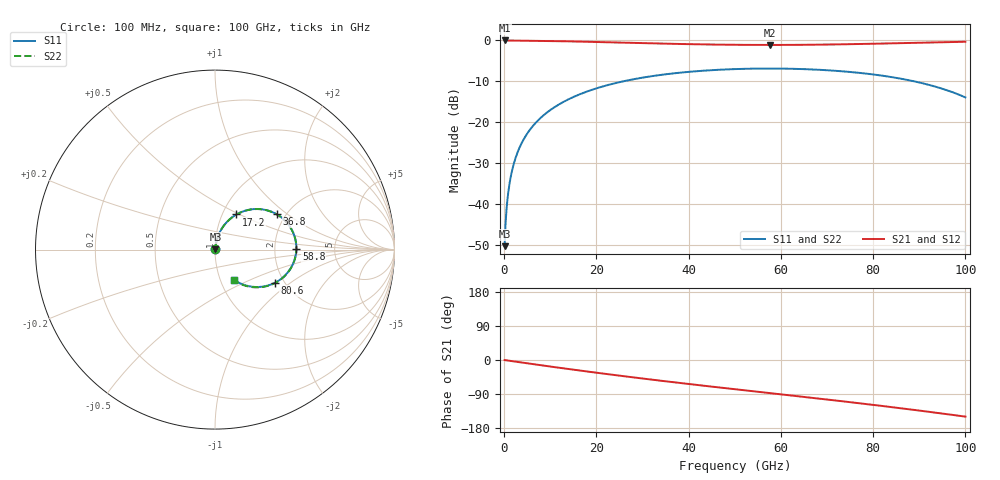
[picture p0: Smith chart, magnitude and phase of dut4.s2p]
! Touchstone file exported from HFSS 2026.1.0
!  File:  C:/ffzhzh/LocalFiles/Ansys_Project_Files/temp_train_RDL_4_1783497506_55944.aedt
!  Generated:  03:59:38 PM Jul  8, 2026
!  Design:  RDL
!  Project:  temp_train_RDL_4_1783497506_55944
! Variables:
!  h_bsmrdl = 2um
!  h_ox = 20um
!  h_rdl = 5um
!  h_sub = 80um
!  h_tmrdl = 3.14um
!  h_tsv = 80um
!  h_via = 3um
!  l_bsmrdl = 300um
!  l_sub = 905.96um
!  l_tmrdl = 505.96um
!  m_sub = 200um
!  pitch = 43.36um
!  r_tsv = 6um
!  s_tmrdl = 10um
!  w_bsmrdl = 18um
!  w_sub = 500um
!  w_tmrdl = 24.64um
!  x_tsv_center1 = 518.28um
!  x_tsv_center2 = 836.28um
!  x_tsv_center3 = 1366.88um
!  x_tsv_center4 = 1684.88um
!  x_tsv_center5 = 2215.48um
!  x_tsv_center6 = 2533.48um
# GHz S MA R 50.000000
! Terminal data exported
! Port[1] = TM_RDL1_1_T1
! Port[2] = TM_RDL1_1_T2
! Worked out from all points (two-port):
!   1000 points, 100 MHz to 100 GHz, reference 50 ohm
!   highest |S21| = -0.02 dB at 100 MHz (marker M1); lowest = -1.1 dB at 57.6 GHz (marker M2)
!   |S21| within 3 dB of the highest: start of sweep to end of sweep
!   lowest |S11| = -50.2 dB at 100 MHz (marker M3), VSWR 1.01, Z = 50.3 + j0.172 ohm
!   |S11| at or under -10 dB: start of sweep to 25.79 GHz; 88.93 GHz to end of sweep
!   |S22| runs from -50.2 to -6.9 dB; largest |S21 - S12| = 1.7e-14
!   S11 on the Smith chart (normalised r, x): 100 MHz: 1.01, +0.00; 17.2 GHz: 1.16, +0.48; 36.8 GHz: 1.80, +0.84; 58.8 GHz: 2.66, +0.01; 80.6 GHz: 1.78, -0.77; 100 GHz: 1.16, -0.41
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0.1  0.00309 33.7  0.9974 -0.2  0.9974 -0.2  0.00309 33.7
! Gamma 0 0 0 0
! Port Impedance 50 0 50 0
0.9  0.01408 74.4  0.9965 -1.6  0.9965 -1.6  0.01408 74.4
1.5  0.02267 78.3  0.9962 -2.6  0.9962 -2.6  0.02267 78.3
2  0.02991 79.3  0.9958 -3.5  0.9958 -3.5  0.02991 79.3
2.6  0.03861 79.6  0.9954 -4.6  0.9954 -4.6  0.03861 79.6
4.2  0.06165 78.5  0.9936 -7.3  0.9936 -7.3  0.06165 78.5
6.3  0.09126 75.7  0.9904 -11.0  0.9904 -11.0  0.09126 75.6
9.1  0.1293 71.3  0.9849 -15.7  0.9849 -15.7  0.1293 71.3
12.6  0.1744 65.8  0.9766 -21.6  0.9766 -21.6  0.1745 65.8
16.8  0.2247 59.2  0.9651 -28.4  0.9651 -28.4  0.2247 59.2
17.2  0.2292 58.6  0.9639 -29.1  0.9639 -29.1  0.2292 58.6
24.5  0.3045 47.5  0.9418 -40.6  0.9418 -40.6  0.3045 47.5
33.4  0.3754 34.6  0.9154 -53.9  0.9154 -53.9  0.3754 34.5
36.8  0.3963 29.8  0.9066 -58.8  0.9066 -58.8  0.3963 29.7
50.1  0.4465 11.7  0.883 -77.2  0.883 -77.2  0.4465 11.6
57.6  0.4535 1.8  0.8793 -87.3  0.8793 -87.3  0.4535 1.6
58.8  0.4533 0.3  0.8794 -89.0  0.8794 -89.0  0.4533 0.0
66.7  0.4421 -10.2  0.8846 -99.7  0.8846 -99.7  0.4421 -10.5
80.6  0.3802 -29.3  0.9111 -119.3  0.9111 -119.3  0.3802 -29.7
83.4  0.361 -33.3  0.9183 -123.4  0.9183 -123.4  0.361 -33.7
92.3  0.2846 -46.2  0.9428 -137.0  0.9428 -137.0  0.2846 -46.8
100  0.2015 -57.5  0.9619 -149.4  0.9619 -149.4  0.2015 -58.3
